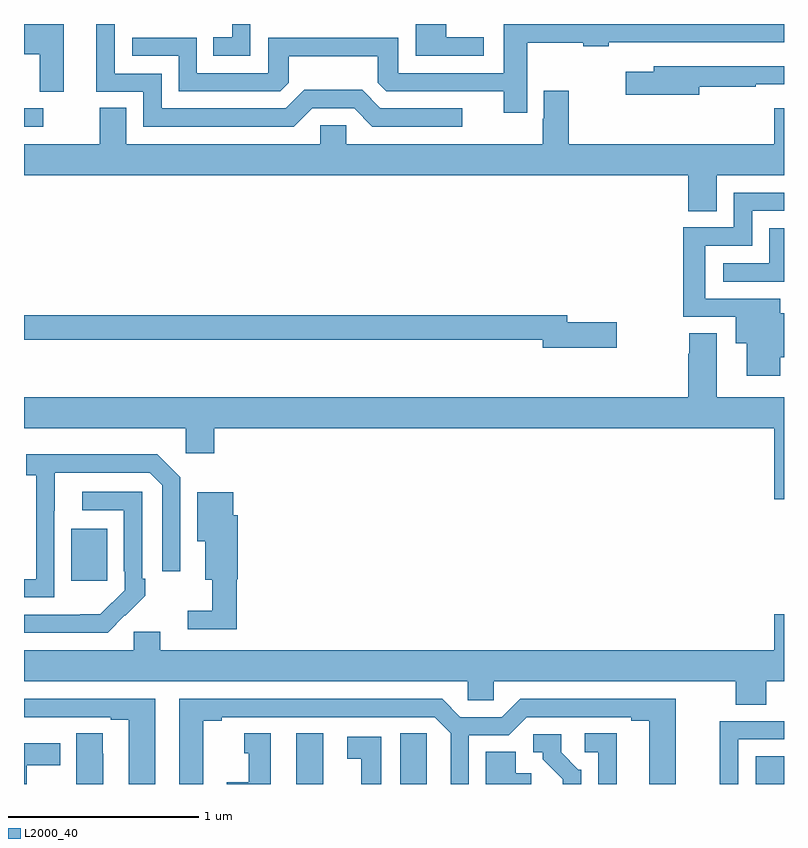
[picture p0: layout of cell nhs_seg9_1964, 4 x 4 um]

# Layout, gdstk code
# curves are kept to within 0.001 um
import gdstk
lib = gdstk.Library(unit=1e-6, precision=1e-09)
def R(c, l, rs):  # rectangles x0, y0, x1, y1
    for r in rs: c.add(gdstk.rectangle(r[:2], r[2:], *l))
def P(c, l, *ps):  # polygons
    for p in ps: c.add(gdstk.Polygon(p, *l))
L2000_40 = (2000, 40)

nhs_seg9_1964 = lib.new_cell('nhs_seg9_1964')
R(nhs_seg9_1964, L2000_40, [(222.434,1242.5,222.574,1242.766), (224.85,1242.5,225,1242.646), (221.249,1243.569,221.437,1243.843), (221,1245.96,221.101,1246.056)])
P(nhs_seg9_1964, L2000_40, [(221.209,1246.5),(221,1246.5),(221,1246.34),(221.084,1246.34),(221.084,1246.143),(221.209,1246.143)],
  [(223.42,1246.429),(223.222,1246.429),(223.222,1246.5),(223.061,1246.5),(223.061,1246.332),(223.42,1246.332)],
  [(222.192,1246.5),(222.095,1246.5),(222.095,1246.429),(221.995,1246.429),(221.995,1246.332),(222.192,1246.332)],
  [(222.516,1246.056),(222.738,1246.056),(222.834,1245.96),(223.306,1245.96),(223.306,1246.056),(222.876,1246.056),(222.779,1246.154),(222.476,1246.154),(222.378,1246.056),(221.724,1246.056),(221.724,1246.239),(221.478,1246.239),(221.478,1246.5),(221.381,1246.5),(221.381,1246.143),(221.628,1246.143),(221.628,1245.96),(222.42,1245.96)],
  [(223.648,1246.402),(223.944,1246.402),(223.944,1246.384),(224.078,1246.384),(224.078,1246.404),(225,1246.404),(225,1246.5),(223.526,1246.5),(223.526,1246.242),(222.969,1246.242),(222.969,1246.428),(222.285,1246.428),(222.285,1246.242),(221.91,1246.242),(221.91,1246.428),(221.571,1246.428),(221.571,1246.332),(221.814,1246.332),(221.814,1246.146),(222.348,1246.146),(222.393,1246.191),(222.393,1246.331),(222.861,1246.331),(222.861,1246.191),(222.906,1246.146),(223.526,1246.146),(223.526,1246.032),(223.648,1246.032)],
  [(224.554,1246.17),(224.852,1246.17),(224.852,1246.182),(225,1246.182),(225,1246.278),(224.315,1246.278),(224.315,1246.249),(224.166,1246.249),(224.166,1246.127),(224.554,1246.127)],
  [(224.647,1245.704),(225,1245.704),(225,1246.057),(224.948,1246.057),(224.948,1245.868),(223.868,1245.868),(223.868,1246.15),(223.736,1246.15),(223.736,1246.001),(223.729,1246.001),(223.729,1245.868),(222.696,1245.868),(222.696,1245.966),(222.558,1245.966),(222.558,1245.868),(221.539,1245.868),(221.539,1246.058),(221.399,1246.058),(221.399,1245.868),(221,1245.868),(221,1245.704),(224.495,1245.704),(224.495,1245.514),(224.647,1245.514)],
  [(224.98,1244.745),(225,1244.745),(225,1244.977),(224.98,1244.977),(224.98,1245.054),(224.586,1245.054),(224.586,1245.333),(224.832,1245.333),(224.832,1245.516),(225,1245.516),(225,1245.612),(224.736,1245.612),(224.736,1245.429),(224.47,1245.429),(224.47,1244.958),(224.747,1244.958),(224.747,1244.819),(224.804,1244.819),(224.804,1244.648),(224.98,1244.648)],
  [(225,1245.426),(224.922,1245.426),(224.922,1245.24),(224.679,1245.24),(224.679,1245.144),(225,1245.144)],
  [(224.119,1244.93),(223.858,1244.93),(223.858,1244.966),(221,1244.966),(221,1244.838),(223.73,1244.838),(223.73,1244.795),(224.119,1244.795)],
  [(225,1244.536),(224.647,1244.536),(224.647,1244.873),(224.5,1244.873),(224.5,1244.765),(224.495,1244.765),(224.495,1244.536),(221,1244.536),(221,1244.372),(221.85,1244.372),(221.85,1244.241),(222.002,1244.241),(222.002,1244.372),(224.948,1244.372),(224.948,1243.998),(225,1243.998)],
  [(221.16,1243.939),(221.161,1244.139),(221.661,1244.139),(221.727,1244.073),(221.727,1243.62),(221.823,1243.62),(221.823,1244.115),(221.702,1244.236),(221.013,1244.236),(221.013,1244.126),(221.064,1244.126),(221.064,1243.578),(221,1243.578),(221,1243.482),(221.16,1243.482)],
  [(221.531,1243.387),(221.532,1243.386),(221.637,1243.491),(221.637,1243.579),(221.622,1243.579),(221.622,1244.037),(221.307,1244.037),(221.307,1243.941),(221.526,1243.941),(221.526,1243.621),(221.529,1243.621),(221.529,1243.521),(221.401,1243.393),(221,1243.392),(221,1243.296),(221.44,1243.296)],
  [(222.119,1243.578),(222.125,1243.578),(222.125,1243.914),(222.1,1243.914),(222.1,1244.035),(221.912,1244.035),(221.912,1243.778),(221.954,1243.778),(221.954,1243.574),(221.991,1243.574),(221.991,1243.411),(221.862,1243.411),(221.862,1243.314),(222.119,1243.314)],
  [(224.906,1243.04),(225,1243.04),(225,1243.393),(224.948,1243.393),(224.948,1243.204),(221.716,1243.204),(221.716,1243.302),(221.577,1243.302),(221.577,1243.204),(221,1243.204),(221,1243.04),(223.335,1243.04),(223.335,1242.942),(223.473,1242.942),(223.473,1243.04),(224.746,1243.04),(224.746,1242.916),(224.906,1242.916)],
  [(221.944,1242.832),(222.04,1242.832),(222.04,1242.852),(223.161,1242.852),(223.245,1242.768),(223.245,1242.5),(223.341,1242.5),(223.341,1242.756),(223.551,1242.756),(223.647,1242.852),(224.195,1242.852),(224.195,1242.832),(224.291,1242.832),(224.291,1242.5),(224.431,1242.5),(224.431,1242.948),(223.611,1242.948),(223.515,1242.852),(223.297,1242.852),(223.201,1242.948),(221.816,1242.948),(221.816,1242.5),(221.944,1242.5)],
  [(221.692,1242.948),(221,1242.948),(221,1242.852),(221.014,1242.852),(221.014,1242.851),(221.18,1242.851),(221.18,1242.852),(221.456,1242.852),(221.456,1242.837),(221.552,1242.837),(221.552,1242.5),(221.692,1242.5)],
  [(224.76,1242.735),(225,1242.735),(225,1242.831),(224.662,1242.831),(224.662,1242.5),(224.76,1242.5)],
  [(224.119,1242.767),(223.95,1242.767),(223.95,1242.666),(224.022,1242.666),(224.022,1242.5),(224.119,1242.5)],
  [(221.416,1242.659),(221.415,1242.659),(221.415,1242.767),(221.276,1242.767),(221.276,1242.5),(221.416,1242.5)],
  [(223.12,1242.659),(223.119,1242.659),(223.119,1242.767),(222.98,1242.767),(222.98,1242.5),(223.12,1242.5)],
  [(222.298,1242.766),(222.158,1242.766),(222.158,1242.663),(222.182,1242.663),(222.182,1242.508),(222.068,1242.508),(222.068,1242.5),(222.298,1242.5)],
  [(223.932,1242.576),(223.917,1242.576),(223.827,1242.666),(223.827,1242.762),(223.68,1242.762),(223.68,1242.666),(223.73,1242.666),(223.73,1242.631),(223.835,1242.526),(223.835,1242.5),(223.932,1242.5)],
  [(222.88,1242.75),(222.702,1242.75),(222.702,1242.634),(222.776,1242.634),(222.776,1242.5),(222.88,1242.5)],
  [(221.014,1242.598),(221.191,1242.598),(221.191,1242.714),(221,1242.714),(221,1242.5),(221.014,1242.5)],
  [(223.669,1242.556),(223.588,1242.556),(223.588,1242.671),(223.43,1242.671),(223.43,1242.5),(223.669,1242.5)])

lib.write_gds('nhs_seg9_1964.gds')
